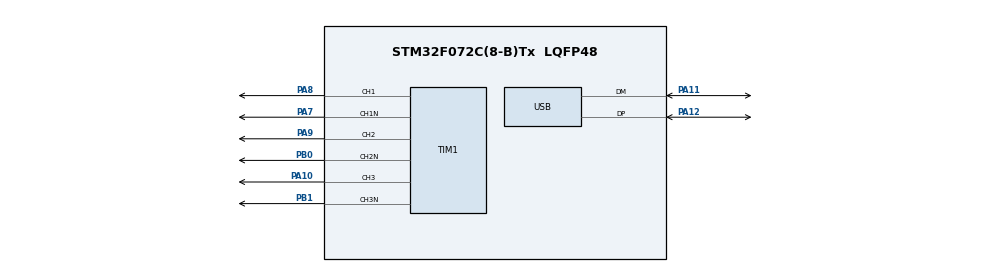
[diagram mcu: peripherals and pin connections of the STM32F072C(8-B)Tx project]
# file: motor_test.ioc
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Mcu.Family=STM32F0
Mcu.Name=STM32F072C(8-B)Tx
Mcu.Package=LQFP48
NVIC.TIM1_BRK_UP_TRG_COM_IRQn=true\:0\:0\:false\:false\:true\:true
NVIC.TIM2_IRQn=true\:0\:0\:false\:false\:true\:true
NVIC.USB_IRQn=true\:0\:0\:false\:false\:true\:false
PA10.Signal=S_TIM1_CH3
PA11.Mode=Device
PA11.Signal=USB_DM
PA12.Mode=Device
PA12.Signal=USB_DP
PA7.Mode=PWM Generation1 CH1 CH1N
PA7.Signal=TIM1_CH1N
PA8.Signal=S_TIM1_CH1
PA9.Signal=S_TIM1_CH2
PB0.Mode=Output Compare2 CH2 CH2N
PB0.Signal=TIM1_CH2N
PB1.Mode=Output Compare3 CH3 CH3N
PB1.Signal=TIM1_CH3N
ProjectManager.HeapSize=0x200
ProjectManager.StackSize=0x400
ProjectManager.TargetToolchain=MDK-ARM V5
RCC.AHBFreq_Value=48000000
RCC.APB1Freq_Value=48000000
RCC.APB1TimFreq_Value=48000000
RCC.HCLKFreq_Value=48000000
RCC.PLLDivider=RCC_PREDIV_DIV2
RCC.PLLSourceVirtual=RCC_PLLSOURCE_HSI48
RCC.SYSCLKFreq_VALUE=48000000
RCC.SYSCLKSource=RCC_SYSCLKSOURCE_PLLCLK
SH.S_TIM1_CH1.0=TIM1_CH1,PWM Generation1 CH1 CH1N
SH.S_TIM1_CH2.0=TIM1_CH2,Output Compare2 CH2 CH2N
SH.S_TIM1_CH3.0=TIM1_CH3,Output Compare3 CH3 CH3N
TIM1.Channel-Output\ Compare2\ CH2\ CH2N=TIM_CHANNEL_2
TIM1.Channel-Output\ Compare3\ CH3\ CH3N=TIM_CHANNEL_3
TIM1.Channel-PWM\ Generation1\ CH1\ CH1N=TIM_CHANNEL_1
TIM2.Period=180
TIM2.Prescaler=40
USB_DEVICE.CLASS_NAME_FS=CDC
USB_DEVICE.VirtualMode=Cdc
USB_DEVICE.VirtualModeFS=Cdc_FS
VP_TIM2_VS_ClockSourceINT.Mode=Internal
VP_USB_DEVICE_VS_USB_DEVICE_CDC_FS.Mode=CDC_FS
board=motor_test

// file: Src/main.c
/**
  ******************************************************************************
  * @file           : main.c
  * @brief          : Main program body
  ******************************************************************************
  * This notice applies to any and all portions of this file
  * that are not between comment pairs USER CODE BEGIN and
  * USER CODE END. Other portions of this file, whether
  * inserted by the user or by software development tools
  * are owned by their respective copyright owners.
  *
  * Copyright (c) 2018 STMicroelectronics International N.V.
  * All rights reserved.
  *
  * Redistribution and use in source and binary forms, with or without
  * modification, are permitted, provided that the following conditions are met:
  *
  * 1. Redistribution of source code must retain the above copyright notice,
  *    this list of conditions and the following disclaimer.
  * 2. Redistributions in binary form must reproduce the above copyright notice,
  *    this list of conditions and the following disclaimer in the documentation
  *    and/or other materials provided with the distribution.
  * 3. Neither the name of STMicroelectronics nor the names of other
  *    contributors to this software may be used to endorse or promote products
  *    derived from this software without specific written permission.
  * 4. This software, including modifications and/or derivative works of this
  *    software, must execute solely and exclusively on microcontroller or
  *    microprocessor devices manufactured by or for STMicroelectronics.
  * 5. Redistribution and use of this software other than as permitted under
  *    this license is void and will automatically terminate your rights under
  *    this license.
  *
  * THIS SOFTWARE IS PROVIDED BY STMICROELECTRONICS AND CONTRIBUTORS "AS IS"
  * AND ANY EXPRESS, IMPLIED OR STATUTORY WARRANTIES, INCLUDING, BUT NOT
  * LIMITED TO, THE IMPLIED WARRANTIES OF MERCHANTABILITY, FITNESS FOR A
  * PARTICULAR PURPOSE AND NON-INFRINGEMENT OF THIRD PARTY INTELLECTUAL PROPERTY
  * RIGHTS ARE DISCLAIMED TO THE FULLEST EXTENT PERMITTED BY LAW. IN NO EVENT
  * SHALL STMICROELECTRONICS OR CONTRIBUTORS BE LIABLE FOR ANY DIRECT, INDIRECT,
  * INCIDENTAL, SPECIAL, EXEMPLARY, OR CONSEQUENTIAL DAMAGES (INCLUDING, BUT NOT
  * LIMITED TO, PROCUREMENT OF SUBSTITUTE GOODS OR SERVICES; LOSS OF USE, DATA,
  * OR PROFITS; OR BUSINESS INTERRUPTION) HOWEVER CAUSED AND ON ANY THEORY OF
  * LIABILITY, WHETHER IN CONTRACT, STRICT LIABILITY, OR TORT (INCLUDING
  * NEGLIGENCE OR OTHERWISE) ARISING IN ANY WAY OUT OF THE USE OF THIS SOFTWARE,
  * EVEN IF ADVISED OF THE POSSIBILITY OF SUCH DAMAGE.
  *
  ******************************************************************************
  */
#include "main.h"
#include "stm32f0xx_hal.h"
#include "usb_device.h"

TIM_HandleTypeDef htim2;

/* USER CODE BEGIN PV */
/* Private variables ---------------------------------------------------------*/

/* USER CODE END PV */

void SystemClock_Config(void);
static void MX_GPIO_Init(void);
static void MX_TIM1_Init(void);
static void MX_TIM2_Init(void);

/* USER CODE BEGIN PFP */
/* Private function prototypes -----------------------------------------------*/

/* USER CODE END PFP */

/* USER CODE BEGIN 0 */

#define TRANSMIT_DATA_LENGTH 13
#define RECEIVE_DATA_LENGTH 6
uint8_t transmit_buffer[2048] = "Servo set...\n";
uint8_t receive_buffer[2048]  = "{000}\n"; //Example content
char 		temp_buf[512];
int 		servo_deg = 0;

void cparabn(uint8_t *source, uint8_t *destination, long count, long aposition, long bposition){
	uint16_t i = 0;
	while (i != count){
		destination[bposition+i] = source[aposition+i];
		i++;
	}
}

void Process_USB_Data(){
	if (receive_buffer[0] == '{'){
		if (receive_buffer[4] == '}'){
			temp_buf[3] = 0;
			cparabn(receive_buffer, temp_buf, 3, 1, 0);
			servo_deg = atoi(temp_buf);
			//Transmit
			CDC_Transmit_FS(transmit_buffer, TRANSMIT_DATA_LENGTH);
		}
	}
}

/* USER CODE END 0 */

int main(void)
{

  /* MCU Configuration----------------------------------------------------------*/

  /* Reset of all peripherals, Initializes the Flash interface and the Systick. */
  HAL_Init();

  /* Configure the system clock */
  SystemClock_Config();

  /* Initialize all configured peripherals */
  MX_GPIO_Init();
  MX_TIM1_Init();
  MX_USB_DEVICE_Init();
  MX_TIM2_Init();

  /* Infinite loop */
  while (1)
  {

  }

}

void SystemClock_Config(void)
{

  LL_FLASH_SetLatency(LL_FLASH_LATENCY_1);

  if(LL_FLASH_GetLatency() != LL_FLASH_LATENCY_1)
  {
  Error_Handler();
  }
  LL_RCC_HSI48_Enable();

   /* Wait till HSI48 is ready */
  while(LL_RCC_HSI48_IsReady() != 1)
  {

  }
  LL_RCC_PLL_ConfigDomain_SYS(LL_RCC_PLLSOURCE_HSI48, LL_RCC_PLL_MUL_2, LL_RCC_PREDIV_DIV_2);

  LL_RCC_PLL_Enable();

   /* Wait till PLL is ready */
  while(LL_RCC_PLL_IsReady() != 1)
  {

  }
  LL_RCC_SetAHBPrescaler(LL_RCC_SYSCLK_DIV_1);

  LL_RCC_SetAPB1Prescaler(LL_RCC_APB1_DIV_1);

  LL_RCC_SetSysClkSource(LL_RCC_SYS_CLKSOURCE_PLL);

   /* Wait till System clock is ready */
  while(LL_RCC_GetSysClkSource() != LL_RCC_SYS_CLKSOURCE_STATUS_PLL)
  {

  }
  LL_Init1msTick(48000000);

  LL_SYSTICK_SetClkSource(LL_SYSTICK_CLKSOURCE_HCLK);

  LL_SetSystemCoreClock(48000000);

  LL_RCC_SetUSBClockSource(LL_RCC_USB_CLKSOURCE_HSI48);

  /* SysTick_IRQn interrupt configuration */
  NVIC_SetPriority(SysTick_IRQn, 0);
}

/* TIM1 init function */
static void MX_TIM1_Init(void)
{

  LL_TIM_InitTypeDef TIM_InitStruct;
  LL_TIM_OC_InitTypeDef TIM_OC_InitStruct;
  LL_TIM_BDTR_InitTypeDef TIM_BDTRInitStruct;

  LL_GPIO_InitTypeDef GPIO_InitStruct;

  /* Peripheral clock enable */
  LL_APB1_GRP2_EnableClock(LL_APB1_GRP2_PERIPH_TIM1);

  /* TIM1 interrupt Init */
  NVIC_SetPriority(TIM1_BRK_UP_TRG_COM_IRQn, 0);
  NVIC_EnableIRQ(TIM1_BRK_UP_TRG_COM_IRQn);

  TIM_InitStruct.Prescaler = 0;
  TIM_InitStruct.CounterMode = LL_TIM_COUNTERMODE_UP;
  TIM_InitStruct.Autoreload = 0;
  TIM_InitStruct.ClockDivision = LL_TIM_CLOCKDIVISION_DIV1;
  TIM_InitStruct.RepetitionCounter = 0;
  LL_TIM_Init(TIM1, &TIM_InitStruct);

  LL_TIM_DisableARRPreload(TIM1);

  LL_TIM_OC_EnablePreload(TIM1, LL_TIM_CHANNEL_CH1);

  TIM_OC_InitStruct.OCMode = LL_TIM_OCMODE_PWM1;
  TIM_OC_InitStruct.OCState = LL_TIM_OCSTATE_DISABLE;
  TIM_OC_InitStruct.OCNState = LL_TIM_OCSTATE_DISABLE;
  TIM_OC_InitStruct.CompareValue = 0;
  TIM_OC_InitStruct.OCPolarity = LL_TIM_OCPOLARITY_HIGH;
  TIM_OC_InitStruct.OCNPolarity = LL_TIM_OCPOLARITY_HIGH;
  TIM_OC_InitStruct.OCIdleState = LL_TIM_OCIDLESTATE_LOW;
  TIM_OC_InitStruct.OCNIdleState = LL_TIM_OCIDLESTATE_LOW;
  LL_TIM_OC_Init(TIM1, LL_TIM_CHANNEL_CH1, &TIM_OC_InitStruct);

  LL_TIM_OC_DisableFast(TIM1, LL_TIM_CHANNEL_CH1);

  TIM_OC_InitStruct.OCMode = LL_TIM_OCMODE_FROZEN;
  TIM_OC_InitStruct.OCState = LL_TIM_OCSTATE_DISABLE;
  TIM_OC_InitStruct.OCNState = LL_TIM_OCSTATE_DISABLE;
  LL_TIM_OC_Init(TIM1, LL_TIM_CHANNEL_CH2, &TIM_OC_InitStruct);

  LL_TIM_OC_DisableFast(TIM1, LL_TIM_CHANNEL_CH2);

  TIM_OC_InitStruct.OCState = LL_TIM_OCSTATE_DISABLE;
  TIM_OC_InitStruct.OCNState = LL_TIM_OCSTATE_DISABLE;
  LL_TIM_OC_Init(TIM1, LL_TIM_CHANNEL_CH3, &TIM_OC_InitStruct);

  LL_TIM_OC_DisableFast(TIM1, LL_TIM_CHANNEL_CH3);

  LL_TIM_SetTriggerOutput(TIM1, LL_TIM_TRGO_RESET);

  LL_TIM_DisableMasterSlaveMode(TIM1);

  TIM_BDTRInitStruct.OSSRState = LL_TIM_OSSR_DISABLE;
  TIM_BDTRInitStruct.OSSIState = LL_TIM_OSSI_DISABLE;
  TIM_BDTRInitStruct.LockLevel = LL_TIM_LOCKLEVEL_OFF;
  TIM_BDTRInitStruct.DeadTime = 0;
  TIM_BDTRInitStruct.BreakState = LL_TIM_BREAK_DISABLE;
  TIM_BDTRInitStruct.BreakPolarity = LL_TIM_BREAK_POLARITY_HIGH;
  TIM_BDTRInitStruct.AutomaticOutput = LL_TIM_AUTOMATICOUTPUT_DISABLE;
  LL_TIM_BDTR_Init(TIM1, &TIM_BDTRInitStruct);

  /**TIM1 GPIO Configuration
  PA7   ------> TIM1_CH1N
  PB0   ------> TIM1_CH2N
  PB1   ------> TIM1_CH3N
  PA8   ------> TIM1_CH1
  PA9   ------> TIM1_CH2
  PA10   ------> TIM1_CH3
  */
  GPIO_InitStruct.Pin = LL_GPIO_PIN_7;
  GPIO_InitStruct.Mode = LL_GPIO_MODE_ALTERNATE;
  GPIO_InitStruct.Speed = LL_GPIO_SPEED_FREQ_LOW;
  GPIO_InitStruct.OutputType = LL_GPIO_OUTPUT_PUSHPULL;
  GPIO_InitStruct.Pull = LL_GPIO_PULL_NO;
  GPIO_InitStruct.Alternate = LL_GPIO_AF_2;
  LL_GPIO_Init(GPIOA, &GPIO_InitStruct);

  GPIO_InitStruct.Pin = LL_GPIO_PIN_0;
  GPIO_InitStruct.Mode = LL_GPIO_MODE_ALTERNATE;
  GPIO_InitStruct.Speed = LL_GPIO_SPEED_FREQ_LOW;
  GPIO_InitStruct.OutputType = LL_GPIO_OUTPUT_PUSHPULL;
  GPIO_InitStruct.Pull = LL_GPIO_PULL_NO;
  GPIO_InitStruct.Alternate = LL_GPIO_AF_2;
  LL_GPIO_Init(GPIOB, &GPIO_InitStruct);

  GPIO_InitStruct.Pin = LL_GPIO_PIN_1;
  GPIO_InitStruct.Mode = LL_GPIO_MODE_ALTERNATE;
  GPIO_InitStruct.Speed = LL_GPIO_SPEED_FREQ_LOW;
  GPIO_InitStruct.OutputType = LL_GPIO_OUTPUT_PUSHPULL;
  GPIO_InitStruct.Pull = LL_GPIO_PULL_NO;
  GPIO_InitStruct.Alternate = LL_GPIO_AF_2;
  LL_GPIO_Init(GPIOB, &GPIO_InitStruct);

  GPIO_InitStruct.Pin = LL_GPIO_PIN_8;
  GPIO_InitStruct.Mode = LL_GPIO_MODE_ALTERNATE;
  GPIO_InitStruct.Speed = LL_GPIO_SPEED_FREQ_LOW;
  GPIO_InitStruct.OutputType = LL_GPIO_OUTPUT_PUSHPULL;
  GPIO_InitStruct.Pull = LL_GPIO_PULL_NO;
  GPIO_InitStruct.Alternate = LL_GPIO_AF_2;
  LL_GPIO_Init(GPIOA, &GPIO_InitStruct);

  GPIO_InitStruct.Pin = LL_GPIO_PIN_9;
  GPIO_InitStruct.Mode = LL_GPIO_MODE_ALTERNATE;
  GPIO_InitStruct.Speed = LL_GPIO_SPEED_FREQ_LOW;
  GPIO_InitStruct.OutputType = LL_GPIO_OUTPUT_PUSHPULL;
  GPIO_InitStruct.Pull = LL_GPIO_PULL_NO;
  GPIO_InitStruct.Alternate = LL_GPIO_AF_2;
  LL_GPIO_Init(GPIOA, &GPIO_InitStruct);

  GPIO_InitStruct.Pin = LL_GPIO_PIN_10;
  GPIO_InitStruct.Mode = LL_GPIO_MODE_ALTERNATE;
  GPIO_InitStruct.Speed = LL_GPIO_SPEED_FREQ_LOW;
  GPIO_InitStruct.OutputType = LL_GPIO_OUTPUT_PUSHPULL;
  GPIO_InitStruct.Pull = LL_GPIO_PULL_NO;
  GPIO_InitStruct.Alternate = LL_GPIO_AF_2;
  LL_GPIO_Init(GPIOA, &GPIO_InitStruct);

}

/* TIM2 init function */
static void MX_TIM2_Init(void)
{

  TIM_ClockConfigTypeDef sClockSourceConfig;
  TIM_MasterConfigTypeDef sMasterConfig;

  htim2.Instance = TIM2;
  htim2.Init.Prescaler = 40;
  htim2.Init.CounterMode = TIM_COUNTERMODE_UP;
  htim2.Init.Period = 180;
  htim2.Init.ClockDivision = TIM_CLOCKDIVISION_DIV1;
  htim2.Init.AutoReloadPreload = TIM_AUTORELOAD_PRELOAD_DISABLE;
  if (HAL_TIM_Base_Init(&htim2) != HAL_OK)
  {
    _Error_Handler(__FILE__, __LINE__);
  }

  sClockSourceConfig.ClockSource = TIM_CLOCKSOURCE_INTERNAL;
  if (HAL_TIM_ConfigClockSource(&htim2, &sClockSourceConfig) != HAL_OK)
  {
    _Error_Handler(__FILE__, __LINE__);
  }

  sMasterConfig.MasterOutputTrigger = TIM_TRGO_RESET;
  sMasterConfig.MasterSlaveMode = TIM_MASTERSLAVEMODE_DISABLE;
  if (HAL_TIMEx_MasterConfigSynchronization(&htim2, &sMasterConfig) != HAL_OK)
  {
    _Error_Handler(__FILE__, __LINE__);
  }

}

/** Pinout Configuration
*/
static void MX_GPIO_Init(void)
{

  /* GPIO Ports Clock Enable */
  LL_AHB1_GRP1_EnableClock(LL_AHB1_GRP1_PERIPH_GPIOA);
  LL_AHB1_GRP1_EnableClock(LL_AHB1_GRP1_PERIPH_GPIOB);

}

void _Error_Handler(char *file, int line)
{
  while(1)
  {
  }
}

/************************ (C) COPYRIGHT STMicroelectronics *****END OF FILE****/
